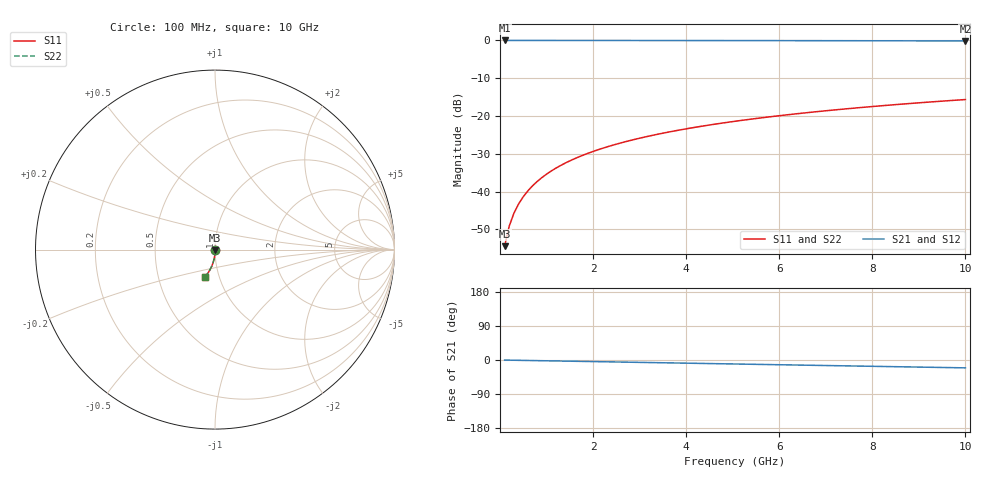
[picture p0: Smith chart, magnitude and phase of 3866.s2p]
# Hz S RI R 50.00
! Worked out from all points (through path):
!   100 points, 100 MHz to 10 GHz, reference 50 ohm
!   highest |S21| = -0.01 dB at 100 MHz (marker M1); lowest = -0.1 dB at 10 GHz (marker M2)
!   group delay of S21, straight-line fit = 5.77 ps
!   lowest |S11| = -54.5 dB at 100 MHz (marker M3), VSWR 1.00, Z = 50.1 - j0.17 ohm
!   |S11| at or under -10 dB: start of sweep to end of sweep
!   |S22| runs from -54.5 to -15.7 dB; largest |S21 - S12| = 0
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1e8  0.000831 -0.0017  0.9991 -0.00364  0.9991 -0.00364  0.000831 -0.0017
2e8  0.000815 -0.0034  0.9991 -0.00728  0.9991 -0.00728  0.000815 -0.0034
3e8  0.000786 -0.0051  0.9991 -0.0109  0.9991 -0.0109  0.000786 -0.0051
4e8  0.000744 -0.0068  0.999 -0.0146  0.999 -0.0146  0.000744 -0.0068
5e8  0.000688 -0.00849  0.9989 -0.0182  0.9989 -0.0182  0.000688 -0.00849
6e8  0.00062 -0.0102  0.9988 -0.0218  0.9988 -0.0218  0.00062 -0.0102
7e8  0.00054 -0.0119  0.9987 -0.0255  0.9987 -0.0255  0.00054 -0.0119
8e8  0.000447 -0.0136  0.9986 -0.0291  0.9986 -0.0291  0.000447 -0.0136
9e8  0.000341 -0.0153  0.9985 -0.0328  0.9985 -0.0328  0.000341 -0.0153
1.1e9  9.29e-05 -0.0187  0.9981 -0.04  0.9981 -0.04  9.29e-05 -0.0187
1.4e9  -0.000373 -0.0237  0.9975 -0.0509  0.9975 -0.0509  -0.000373 -0.0237
1.8e9  -0.00117 -0.0305  0.9965 -0.0654  0.9965 -0.0654  -0.00117 -0.0305
2.1e9  -0.00189 -0.0355  0.9955 -0.0763  0.9955 -0.0763  -0.00189 -0.0355
2.5e9  -0.00303 -0.0422  0.994 -0.0908  0.994 -0.0908  -0.00303 -0.0422
2.9e9  -0.00436 -0.0489  0.9923 -0.1052  0.9923 -0.1052  -0.00436 -0.0489
3.4e9  -0.00629 -0.0572  0.9897 -0.1232  0.9897 -0.1232  -0.00629 -0.0572
4.2e9  -0.01 -0.0702  0.9848 -0.1518  0.9848 -0.1518  -0.01 -0.0702
5.1e9  -0.0151 -0.0846  0.9782 -0.1836  0.9782 -0.1836  -0.0151 -0.0846
5.9e9  -0.0203 -0.097  0.9712 -0.2116  0.9712 -0.2116  -0.0203 -0.097
6.7e9  -0.0263 -0.1092  0.9633 -0.2393  0.9633 -0.2393  -0.0263 -0.1092
8.4e9  -0.0412 -0.1335  0.9434 -0.2967  0.9434 -0.2967  -0.0412 -0.1335
1e10  -0.0578 -0.1546  0.9212 -0.3489  0.9212 -0.3489  -0.0578 -0.1546
